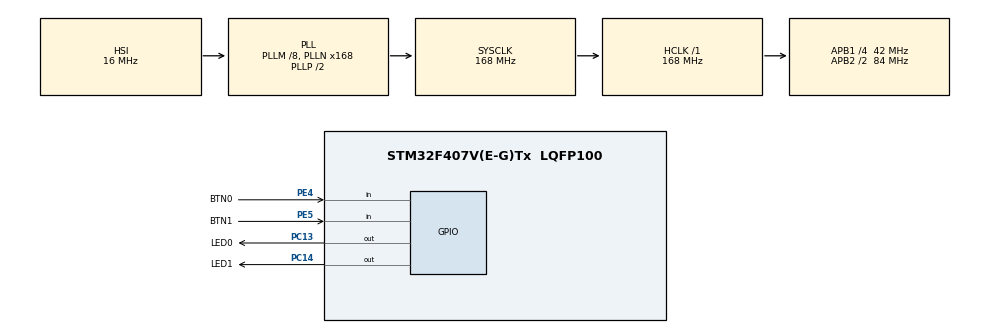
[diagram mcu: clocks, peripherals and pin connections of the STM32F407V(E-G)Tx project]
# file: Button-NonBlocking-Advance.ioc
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Mcu.Family=STM32F4
Mcu.Name=STM32F407V(E-G)Tx
Mcu.Package=LQFP100
NVIC.PriorityGroup=NVIC_PRIORITYGROUP_4
PC13-ANTI_TAMP.GPIO_Label=LED0
PC13-ANTI_TAMP.Signal=GPIO_Output
PC14-OSC32_IN.GPIO_Label=LED1
PC14-OSC32_IN.Signal=GPIO_Output
PE4.GPIO_Label=BTN0
PE4.Signal=GPIO_Input
PE5.GPIO_Label=BTN1
PE5.Signal=GPIO_Input
ProjectManager.HeapSize=0x200
ProjectManager.StackSize=0x400
ProjectManager.TargetToolchain=MDK-ARM V5.27
RCC.48MHZClocksFreq_Value=84000000
RCC.AHBFreq_Value=168000000
RCC.APB1CLKDivider=RCC_HCLK_DIV4
RCC.APB1Freq_Value=42000000
RCC.APB1TimFreq_Value=84000000
RCC.APB2CLKDivider=RCC_HCLK_DIV2
RCC.APB2Freq_Value=84000000
RCC.APB2TimFreq_Value=168000000
RCC.CortexFreq_Value=168000000
RCC.FLatency=FLASH_LATENCY_5
RCC.HCLKFreq_Value=168000000
RCC.HSE_VALUE=25000000
RCC.HSI_VALUE=16000000
RCC.LSE_VALUE=32768
RCC.PLLM=8
RCC.PLLN=168
RCC.SYSCLKFreq_VALUE=168000000
RCC.SYSCLKSource=RCC_SYSCLKSOURCE_PLLCLK
RCC.VCOOutputFreq_Value=336000000
board=custom

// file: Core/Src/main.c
/* USER CODE BEGIN Header */
/**
  ******************************************************************************
  * @file           : main.c
  * @brief          : Main program body
  ******************************************************************************
  * @attention
  *
  * <h2><center>&copy; Copyright (c) 2023 STMicroelectronics.
  * All rights reserved.</center></h2>
  *
  * This software component is licensed by ST under BSD 3-Clause license,
  * the "License"; You may not use this file except in compliance with the
  * License. You may obtain a copy of the License at:
  *                        opensource.org/licenses/BSD-3-Clause
  *
  ******************************************************************************
  */
/* USER CODE END Header */
#include "main.h"
#include "gpio.h"

/* USER CODE BEGIN PTD */
typedef enum {
  Key_State_Hold        = 0x00,
  Key_State_Released    = 0x01,
  Key_State_Pressed     = 0x02,
  Key_State_None        = 0x03,
} Key_State;

typedef struct {
  GPIO_TypeDef*         GPIO;
  uint16_t              Pin;
} Key_PinConfig;

struct __Key;
typedef struct __Key Key;

typedef uint8_t (*Key_CallbackFn)(Key* key, Key_State state);

typedef union {
  Key_CallbackFn      fn[4];
  struct {
    Key_CallbackFn    onHold;
    Key_CallbackFn    onReleased;
    Key_CallbackFn    onPressed;
    Key_CallbackFn    onNone;
  };
} Key_Callbacks;

struct __Key {
  const Key_PinConfig*  Config;
  Key_Callbacks         Callbacks;
  Key_State             State;
  uint8_t               Handled;
};

/* USER CODE END PTD */

/* USER CODE BEGIN PD */
#define KEY_SAMPLE_PERIOD   50 //ms
/* USER CODE END PD */

/* USER CODE BEGIN PV */
static const Key_PinConfig KEY_PIN_CONFIGS[] = {
  {BTN0_GPIO_Port, BTN0_Pin},
  {BTN1_GPIO_Port, BTN1_Pin},
};

uint32_t blinkTimeout = 0;

/* USER CODE END PV */

void SystemClock_Config(void);
/* USER CODE BEGIN PFP */
void Key_init(Key* keys, const Key_PinConfig* configs, uint32_t len);
void Key_handle(Key* keys, uint32_t len);

uint8_t Btn0_onPressed(Key* key, Key_State state);

uint8_t Btn1_onPressed(Key* key, Key_State state);
uint8_t Btn1_onHold(Key* key, Key_State state);
uint8_t Btn1_onReleased(Key* key, Key_State state);
/* USER CODE END PFP */

int main(void)
{
  /* USER CODE BEGIN 1 */
  uint32_t keyNextSample = 0;
  Key keys[2];
  /* USER CODE END 1 */

  /* MCU Configuration--------------------------------------------------------*/

  /* Reset of all peripherals, Initializes the Flash interface and the Systick. */
  HAL_Init();

  /* Configure the system clock */
  SystemClock_Config();

  /* Initialize all configured peripherals */
  MX_GPIO_Init();
  /* USER CODE BEGIN 2 */
  Key_init(keys, KEY_PIN_CONFIGS, 2);

  keys[0].Callbacks.onPressed = Btn0_onPressed;

  keys[1].Callbacks.onPressed = Btn1_onPressed;
  keys[1].Callbacks.onHold = Btn1_onHold;
  keys[1].Callbacks.onReleased = Btn1_onReleased;
  /* USER CODE END 2 */

  /* Infinite loop */
  /* USER CODE BEGIN WHILE */
  while (1)
  {
    if (keyNextSample <= HAL_GetTick()) {
      keyNextSample = HAL_GetTick() + KEY_SAMPLE_PERIOD;
      // check key state
      Key_handle(keys, 2);
    }
    /* USER CODE END WHILE */

  }
}

void SystemClock_Config(void)
{
  RCC_OscInitTypeDef RCC_OscInitStruct = {0};
  RCC_ClkInitTypeDef RCC_ClkInitStruct = {0};

  /** Configure the main internal regulator output voltage
  */
  __HAL_RCC_PWR_CLK_ENABLE();
  __HAL_PWR_VOLTAGESCALING_CONFIG(PWR_REGULATOR_VOLTAGE_SCALE1);
  /** Initializes the RCC Oscillators according to the specified parameters
  * in the RCC_OscInitTypeDef structure.
  */
  RCC_OscInitStruct.OscillatorType = RCC_OSCILLATORTYPE_HSI;
  RCC_OscInitStruct.HSIState = RCC_HSI_ON;
  RCC_OscInitStruct.HSICalibrationValue = RCC_HSICALIBRATION_DEFAULT;
  RCC_OscInitStruct.PLL.PLLState = RCC_PLL_ON;
  RCC_OscInitStruct.PLL.PLLSource = RCC_PLLSOURCE_HSI;
  RCC_OscInitStruct.PLL.PLLM = 8;
  RCC_OscInitStruct.PLL.PLLN = 168;
  RCC_OscInitStruct.PLL.PLLP = RCC_PLLP_DIV2;
  RCC_OscInitStruct.PLL.PLLQ = 4;
  if (HAL_RCC_OscConfig(&RCC_OscInitStruct) != HAL_OK)
  {
    Error_Handler();
  }
  /** Initializes the CPU, AHB and APB buses clocks
  */
  RCC_ClkInitStruct.ClockType = RCC_CLOCKTYPE_HCLK|RCC_CLOCKTYPE_SYSCLK
                              |RCC_CLOCKTYPE_PCLK1|RCC_CLOCKTYPE_PCLK2;
  RCC_ClkInitStruct.SYSCLKSource = RCC_SYSCLKSOURCE_PLLCLK;
  RCC_ClkInitStruct.AHBCLKDivider = RCC_SYSCLK_DIV1;
  RCC_ClkInitStruct.APB1CLKDivider = RCC_HCLK_DIV4;
  RCC_ClkInitStruct.APB2CLKDivider = RCC_HCLK_DIV2;

  if (HAL_RCC_ClockConfig(&RCC_ClkInitStruct, FLASH_LATENCY_5) != HAL_OK)
  {
    Error_Handler();
  }
}

/* USER CODE BEGIN 4 */
uint8_t Btn0_onPressed(Key* key, Key_State state) {
  HAL_GPIO_TogglePin(LED0_GPIO_Port, LED0_Pin);
  return 0;
}

uint8_t Btn1_onPressed(Key* key, Key_State state) {
  blinkTimeout = HAL_GetTick() + 3000;
  HAL_GPIO_WritePin(LED1_GPIO_Port, LED1_Pin, GPIO_PIN_SET);
  return 0;
}
uint8_t Btn1_onHold(Key* key, Key_State state) {
  HAL_GPIO_TogglePin(LED1_GPIO_Port, LED1_Pin);

  return blinkTimeout <= HAL_GetTick();
}
uint8_t Btn1_onReleased(Key* key, Key_State state) {
  HAL_GPIO_WritePin(LED1_GPIO_Port, LED1_Pin, GPIO_PIN_RESET);
  return 0;
}

void Key_init(Key* keys, const Key_PinConfig* configs, uint32_t len) {
  while (len-- > 0) {
    keys->Config = configs;
    keys->State = Key_State_None;
    keys++;
    configs++;
  }
}

void Key_handle(Key* keys, uint32_t len) {
  while (len-- > 0) {
    keys->State = ((keys->State << 1) | HAL_GPIO_ReadPin(keys->Config->GPIO, keys->Config->Pin)) & 3;

    if (!keys->Handled && keys->Callbacks.fn[keys->State] != NULL) {
      keys->Handled = keys->Callbacks.fn[keys->State](keys, keys->State);
    }
    else if (keys->State == Key_State_None) {
      keys->Handled = 0;
    }

    keys++;
  }
}
/* USER CODE END 4 */

void Error_Handler(void)
{
  __disable_irq();
  while (1)
  {
  }
}

/************************ (C) COPYRIGHT STMicroelectronics *****END OF FILE****/
